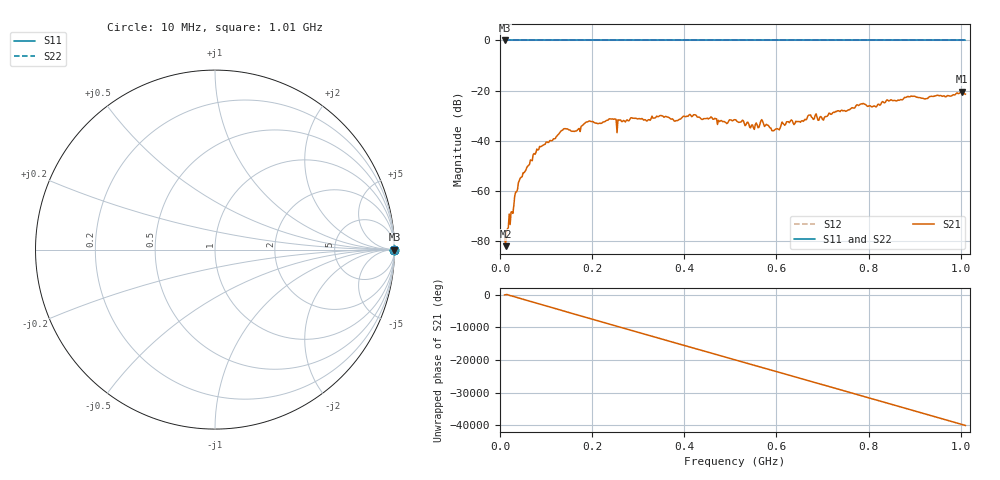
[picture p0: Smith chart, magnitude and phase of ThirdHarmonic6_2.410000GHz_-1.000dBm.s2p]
! 8/17/2025 4:02:20 AM
! C:\ANRITSUVNA\TEMP\TEMP.S2P
! CHANNEL.1
! TR.MEASUREMENT
! RAW.DATA
! RF.CORRECTION.OFF
! AVERAGING.OFF
! IF.BANDWIDTH: 5KHZ
! SWEEPTYPE:  FREQ.SWEEP(Linear)
! Reference Plane Port Info
! PORT:  PORT1  PORT2
! DISTANCE:  0  m  0  m
! TIME:  0  s  0  s
! PHASE.OFFSET:  0  deg.  0  deg.
! LOSS:  0  dB  0  dB
! REF.LOSS:  0  dB  0  dB
! REF.FREQ:  0  Hz  0  Hz
! Power Info
! POWER:  -20  dBm  -20  dBm
! EFF.POWER:  -20  dBm  -20  dBm
! SOURCE.ATTEN:  0  dB  0  dB
! TEST.ATTEN:  0  dB  0  dB
# GHZ S RI R 50.0
! FREQ.GHZ  S11RE  S11IM  S21RE  S21IM  S12RE  S12IM  S22RE  S22IM
!; PortSelection: Port_12
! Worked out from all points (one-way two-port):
!   501 points, 10 MHz to 1.01 GHz, reference 50 ohm
!   highest |S21| = -20.48 dB at 1.002 GHz (marker M1); lowest = -82.1 dB at 12 MHz (marker M2)
!   lowest |S11| = 0.0 dB at 10 MHz (marker M3)
!   |S11| at or under -10 dB: nowhere
!   |S22| runs from 0.0 to 0.0 dB; largest |S21 - S12| = 1.1
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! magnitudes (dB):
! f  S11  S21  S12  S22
! 10 MHz  0.0  -77.3  0.0  0.0
! 12 MHz  0.0  -82.1  0.0  0.0
! 26 MHz  0.0  -68.3  0.0  0.0
! 42 MHz  0.0  -55.8  0.0  0.0
! 76 MHz  0.0  -45.4  0.0  0.0
! 136 MHz  0.0  -35.7  0.0  0.0
! 162 MHz  0.0  -36.3  0.0  0.0
! 178 MHz  0.0  -34.0  0.0  0.0
! 192 MHz  0.0  -32.3  0.0  0.0
! 344 MHz  0.0  -30.4  0.0  0.0
! 382 MHz  0.0  -32.0  0.0  0.0
! 422 MHz  0.0  -29.6  0.0  0.0
! 490 MHz  0.0  -32.7  0.0  0.0
! 510 MHz  0.0  -31.7  0.0  0.0
! 548 MHz  0.0  -33.7  0.0  0.0
! 568 MHz  0.0  -31.6  0.0  0.0
! 594 MHz  0.0  -36.0  0.0  0.0
! 628 MHz  0.0  -32.8  0.0  0.0
! 678 MHz  0.0  -30.9  0.0  0.0
! 844 MHz  0.0  -24.2  0.0  0.0
! 1.002 GHz  0.0  -20.5  0.0  0.0
! 1.01 GHz  0.0  -21.4  0.0  0.0
